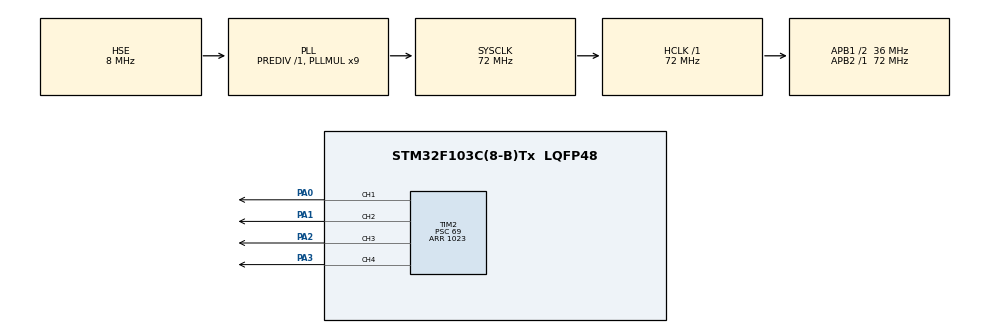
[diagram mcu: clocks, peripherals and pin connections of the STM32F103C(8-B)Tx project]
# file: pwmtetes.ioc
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Mcu.Family=STM32F1
Mcu.Name=STM32F103C(8-B)Tx
Mcu.Package=LQFP48
NVIC.PriorityGroup=NVIC_PRIORITYGROUP_4
PA0-WKUP.Signal=S_TIM2_CH1_ETR
PA1.Signal=S_TIM2_CH2
PA13.Mode=Serial_Wire
PA13.Signal=SYS_JTMS-SWDIO
PA14.Mode=Serial_Wire
PA14.Signal=SYS_JTCK-SWCLK
PA2.Signal=S_TIM2_CH3
PA3.Signal=S_TIM2_CH4
PD0-OSC_IN.Mode=HSE-External-Oscillator
PD0-OSC_IN.Signal=RCC_OSC_IN
PD1-OSC_OUT.Mode=HSE-External-Oscillator
PD1-OSC_OUT.Signal=RCC_OSC_OUT
ProjectManager.HeapSize=0x200
ProjectManager.StackSize=0x400
ProjectManager.TargetToolchain=STM32CubeIDE
RCC.AHBFreq_Value=72000000
RCC.APB1CLKDivider=RCC_HCLK_DIV2
RCC.APB1Freq_Value=36000000
RCC.APB1TimFreq_Value=72000000
RCC.APB2Freq_Value=72000000
RCC.APB2TimFreq_Value=72000000
RCC.HCLKFreq_Value=72000000
RCC.PLLMUL=RCC_PLL_MUL9
RCC.PLLSourceVirtual=RCC_PLLSOURCE_HSE
RCC.SYSCLKFreq_VALUE=72000000
RCC.SYSCLKSource=RCC_SYSCLKSOURCE_PLLCLK
RCC.USBFreq_Value=72000000
SH.S_TIM2_CH1_ETR.0=TIM2_CH1,PWM Generation1 CH1
SH.S_TIM2_CH2.0=TIM2_CH2,PWM Generation2 CH2
SH.S_TIM2_CH3.0=TIM2_CH3,PWM Generation3 CH3
SH.S_TIM2_CH4.0=TIM2_CH4,PWM Generation4 CH4
TIM2.Channel-PWM\ Generation1\ CH1=TIM_CHANNEL_1
TIM2.Channel-PWM\ Generation2\ CH2=TIM_CHANNEL_2
TIM2.Channel-PWM\ Generation3\ CH3=TIM_CHANNEL_3
TIM2.Channel-PWM\ Generation4\ CH4=TIM_CHANNEL_4
TIM2.Period=1023
TIM2.Prescaler=69
board=custom

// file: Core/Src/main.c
/* USER CODE BEGIN Header */
/**
  ******************************************************************************
  * @file           : main.c
  * @brief          : Main program body
  ******************************************************************************
  * @attention
  *
  * Copyright (c) 2026 STMicroelectronics.
  * All rights reserved.
  *
  * This software is licensed under terms that can be found in the LICENSE file
  * in the root directory of this software component.
  * If no LICENSE file comes with this software, it is provided AS-IS.
  *
  ******************************************************************************
  */
/* USER CODE END Header */
#include "main.h"

TIM_HandleTypeDef htim2;

void SystemClock_Config(void);
static void MX_GPIO_Init(void);
static void MX_TIM2_Init(void);

int main(void)
{

  /* MCU Configuration--------------------------------------------------------*/

  /* Reset of all peripherals, Initializes the Flash interface and the Systick. */
  HAL_Init();

  /* Configure the system clock */
  SystemClock_Config();

  /* Initialize all configured peripherals */
  MX_GPIO_Init();
  MX_TIM2_Init();
  /* USER CODE BEGIN 2 */
  HAL_TIM_PWM_Start(&htim2, TIM_CHANNEL_1);
  HAL_TIM_PWM_Start(&htim2, TIM_CHANNEL_2);
  HAL_TIM_PWM_Start(&htim2, TIM_CHANNEL_3);
  HAL_TIM_PWM_Start(&htim2, TIM_CHANNEL_4);
  /* USER CODE END 2 */

  /* Infinite loop */
  /* USER CODE BEGIN WHILE */
  uint16_t dc1 = 0;
  uint16_t dc2 = 0;
  while (1)
  {
	  //move um motor
	  __HAL_TIM_SET_COMPARE(&htim2, TIM_CHANNEL_1, dc1);
	  __HAL_TIM_SET_COMPARE(&htim2, TIM_CHANNEL_2, 0);
	  //MOVE MOTOR 2
	  __HAL_TIM_SET_COMPARE(&htim2, TIM_CHANNEL_3, dc2);
	  __HAL_TIM_SET_COMPARE(&htim2, TIM_CHANNEL_4, 0);
	  HAL_Delay(300);
	  dc1 += 30;
	  dc2 += 30;
	  if (dc1 >= 1024) dc1 = 0;
	  if (dc2 >= 1024) dc2 = 0;
    /* USER CODE END WHILE */

  }
}

void SystemClock_Config(void)
{
  RCC_OscInitTypeDef RCC_OscInitStruct = {0};
  RCC_ClkInitTypeDef RCC_ClkInitStruct = {0};

  /** Initializes the RCC Oscillators according to the specified parameters
  * in the RCC_OscInitTypeDef structure.
  */
  RCC_OscInitStruct.OscillatorType = RCC_OSCILLATORTYPE_HSE;
  RCC_OscInitStruct.HSEState = RCC_HSE_ON;
  RCC_OscInitStruct.HSEPredivValue = RCC_HSE_PREDIV_DIV1;
  RCC_OscInitStruct.HSIState = RCC_HSI_ON;
  RCC_OscInitStruct.PLL.PLLState = RCC_PLL_ON;
  RCC_OscInitStruct.PLL.PLLSource = RCC_PLLSOURCE_HSE;
  RCC_OscInitStruct.PLL.PLLMUL = RCC_PLL_MUL9;
  if (HAL_RCC_OscConfig(&RCC_OscInitStruct) != HAL_OK)
  {
    Error_Handler();
  }

  /** Initializes the CPU, AHB and APB buses clocks
  */
  RCC_ClkInitStruct.ClockType = RCC_CLOCKTYPE_HCLK|RCC_CLOCKTYPE_SYSCLK
                              |RCC_CLOCKTYPE_PCLK1|RCC_CLOCKTYPE_PCLK2;
  RCC_ClkInitStruct.SYSCLKSource = RCC_SYSCLKSOURCE_PLLCLK;
  RCC_ClkInitStruct.AHBCLKDivider = RCC_SYSCLK_DIV1;
  RCC_ClkInitStruct.APB1CLKDivider = RCC_HCLK_DIV2;
  RCC_ClkInitStruct.APB2CLKDivider = RCC_HCLK_DIV1;

  if (HAL_RCC_ClockConfig(&RCC_ClkInitStruct, FLASH_LATENCY_2) != HAL_OK)
  {
    Error_Handler();
  }
}

static void MX_TIM2_Init(void)
{

  TIM_MasterConfigTypeDef sMasterConfig = {0};
  TIM_OC_InitTypeDef sConfigOC = {0};

  htim2.Instance = TIM2;
  htim2.Init.Prescaler = 69;
  htim2.Init.CounterMode = TIM_COUNTERMODE_UP;
  htim2.Init.Period = 1023;
  htim2.Init.ClockDivision = TIM_CLOCKDIVISION_DIV1;
  htim2.Init.AutoReloadPreload = TIM_AUTORELOAD_PRELOAD_DISABLE;
  if (HAL_TIM_PWM_Init(&htim2) != HAL_OK)
  {
    Error_Handler();
  }
  sMasterConfig.MasterOutputTrigger = TIM_TRGO_RESET;
  sMasterConfig.MasterSlaveMode = TIM_MASTERSLAVEMODE_DISABLE;
  if (HAL_TIMEx_MasterConfigSynchronization(&htim2, &sMasterConfig) != HAL_OK)
  {
    Error_Handler();
  }
  sConfigOC.OCMode = TIM_OCMODE_PWM1;
  sConfigOC.Pulse = 0;
  sConfigOC.OCPolarity = TIM_OCPOLARITY_HIGH;
  sConfigOC.OCFastMode = TIM_OCFAST_DISABLE;
  if (HAL_TIM_PWM_ConfigChannel(&htim2, &sConfigOC, TIM_CHANNEL_1) != HAL_OK)
  {
    Error_Handler();
  }
  if (HAL_TIM_PWM_ConfigChannel(&htim2, &sConfigOC, TIM_CHANNEL_2) != HAL_OK)
  {
    Error_Handler();
  }
  if (HAL_TIM_PWM_ConfigChannel(&htim2, &sConfigOC, TIM_CHANNEL_3) != HAL_OK)
  {
    Error_Handler();
  }
  if (HAL_TIM_PWM_ConfigChannel(&htim2, &sConfigOC, TIM_CHANNEL_4) != HAL_OK)
  {
    Error_Handler();
  }
  HAL_TIM_MspPostInit(&htim2);

}

static void MX_GPIO_Init(void)
{

  /* GPIO Ports Clock Enable */
  __HAL_RCC_GPIOD_CLK_ENABLE();
  __HAL_RCC_GPIOA_CLK_ENABLE();

}

void Error_Handler(void)
{
  __disable_irq();
  while (1)
  {
  }
}
